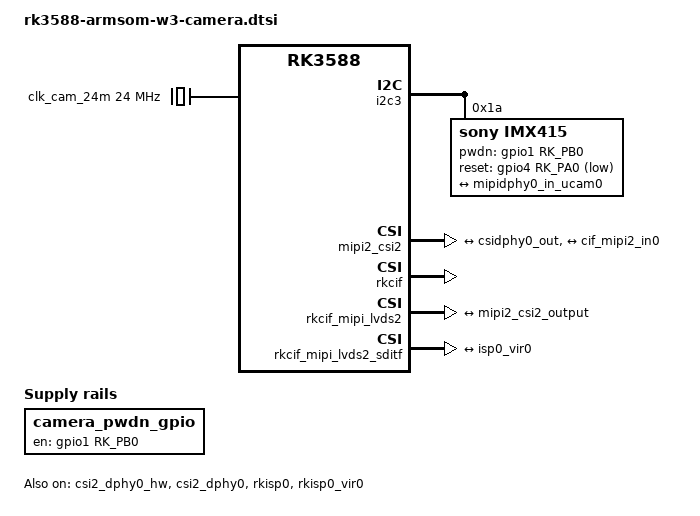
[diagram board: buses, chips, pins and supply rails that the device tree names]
// SPDX-License-Identifier: (GPL-2.0+ OR MIT)
/*
 * Copyright (c) 2022 Rockchip Electronics Co., Ltd.
 *
 */

/ {
	camera_pwdn_gpio: camera-pwdn-gpio {
		status = "okay";
		compatible = "regulator-fixed";
		regulator-name = "camera_pwdn_gpio";
		regulator-always-on;
		regulator-boot-on;
		enable-active-high;
		gpio = <&gpio1 RK_PB0 GPIO_ACTIVE_HIGH>;
		pinctrl-names = "default";
		pinctrl-0 = <&cam_pwdn_gpio>;
	};

	clk_cam_24m: external-camera-clock-24m {
		status = "okay";
		compatible = "fixed-clock";
		clock-frequency = <24000000>;
		clock-output-names = "clk_cam_24m";
		#clock-cells = <0>;
	};
};

&i2c3 {
	status = "okay";

	imx415: imx415@1a {
		status = "okay";
		compatible = "sony,imx415";
		reg = <0x1a>;
		clocks = <&cru CLK_MIPI_CAMARAOUT_M3>;
		clock-names = "xvclk";
		pinctrl-names = "default";
		pinctrl-0 = <&mipim0_camera3_clk>;
		power-domains = <&power RK3588_PD_VI>;
		pwdn-gpios = <&gpio1 RK_PB0 GPIO_ACTIVE_HIGH>;
		reset-gpios = <&gpio4 RK_PA0 GPIO_ACTIVE_LOW>;
		rockchip,camera-module-index = <0>;
		rockchip,camera-module-facing = "back";
		rockchip,camera-module-name = "CMK-OT2022-PX1";
		rockchip,camera-module-lens-name = "IR0147-50IRC-8M-F20";
		port {
			imx415_out0: endpoint {
				remote-endpoint = <&mipidphy0_in_ucam0>;
				data-lanes = <1 2 3 4>;
			};
		};
	};

	camera_imx219: camera-imx219@10 {
		status = "disabled";
		compatible = "sony,imx219";
		reg = <0x10>;

		clocks = <&clk_cam_24m>;
		clock-names = "xvclk";

		rockchip,camera-module-index = <0>;
		rockchip,camera-module-facing = "back";
		rockchip,camera-module-name = "rpi-camera-v2";
		rockchip,camera-module-lens-name = "default";

		port {
			imx219_out0: endpoint {
				remote-endpoint = <&mipidphy0_in_ucam1>;
				data-lanes = <1 2>;
			};
		};
	};
};

&csi2_dphy0_hw {
	status = "okay";
};

&csi2_dphy0 {
	status = "okay";

	ports {
		#address-cells = <1>;
		#size-cells = <0>;

		port@0 {
			reg = <0>;
			#address-cells = <1>;
			#size-cells = <0>;

			mipidphy0_in_ucam0: endpoint@1 {
				reg = <1>;
				remote-endpoint = <&imx415_out0>;
				data-lanes = <1 2 3 4>;
			};

			mipidphy0_in_ucam1: endpoint@2 {
				reg = <2>;
				remote-endpoint = <&imx219_out0>;
				data-lanes = <1 2>;
			};
		};

		port@1 {
			reg = <1>;
			#address-cells = <1>;
			#size-cells = <0>;

			csidphy0_out: endpoint@0 {
				reg = <0>;
				remote-endpoint = <&mipi2_csi2_input>;
			};
		};
	};
};

&mipi2_csi2 {
	status = "okay";

	ports {
		#address-cells = <1>;
		#size-cells = <0>;

		port@0 {
			reg = <0>;
			#address-cells = <1>;
			#size-cells = <0>;

			mipi2_csi2_input: endpoint@1 {
				reg = <1>;
				remote-endpoint = <&csidphy0_out>;
			};
		};

		port@1 {
			reg = <1>;
			#address-cells = <1>;
			#size-cells = <0>;

			mipi2_csi2_output: endpoint@0 {
				reg = <0>;
				remote-endpoint = <&cif_mipi2_in0>;
			};
		};
	};
};

&rkcif {
	status = "okay";
};

&rkcif_mipi_lvds2 {
	status = "okay";

	port {
		cif_mipi2_in0: endpoint {
			remote-endpoint = <&mipi2_csi2_output>;
		};
	};
};

&rkcif_mipi_lvds2_sditf {
	status = "okay";

	port {
		mipi_lvds2_sditf: endpoint {
			remote-endpoint = <&isp0_vir0>;
		};
	};
};

&rkcif_mmu {
	status = "okay";
};

&rkisp0 {
	status = "okay";
};

&isp0_mmu {
	status = "okay";
};

&rkisp0_vir0 {
	status = "okay";

	port {
		#address-cells = <1>;
		#size-cells = <0>;

		isp0_vir0: endpoint@0 {
			reg = <0>;
			remote-endpoint = <&mipi_lvds2_sditf>;
		};
	};
};

&pinctrl {
	camera {
		cam_pwdn_gpio: cam-pwdn-gpio {
			rockchip,pins = <1 RK_PB0 RK_FUNC_GPIO &pcfg_pull_up>;
		};
	};
};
